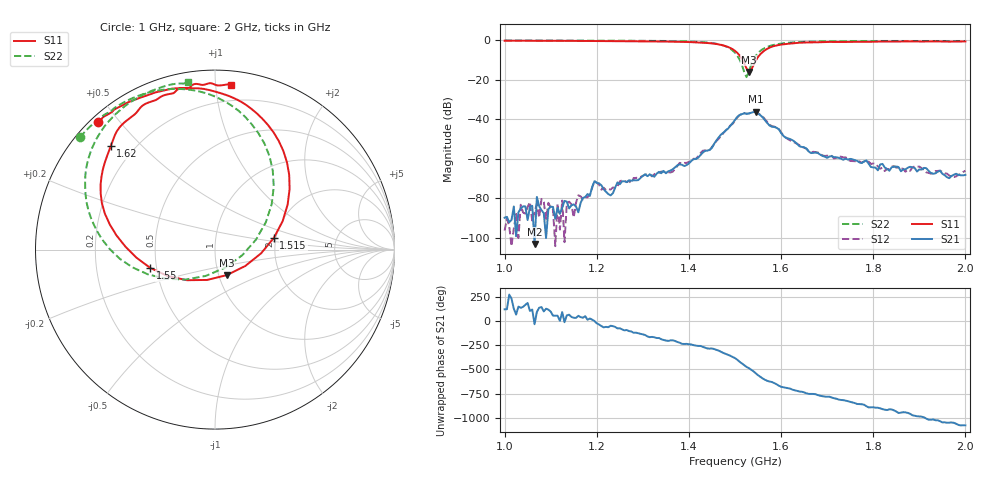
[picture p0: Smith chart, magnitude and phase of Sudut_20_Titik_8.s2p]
# Hz S RI R 50
! CMT, C1220, 16058040, 17.2.0/1
! Date: 14/08/2018 12:03:31
! Data: Format (Calibration Info)
! Freq  S11: Re/Im (F2)  S21: Re/Im (F2)  S12: Re/Im (F2)  S22: Re/Im (F2)
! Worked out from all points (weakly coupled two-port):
!   201 points, 1 GHz to 2 GHz, reference 50 ohm
!   highest |S21| = -36.26 dB at 1.545 GHz (marker M1); lowest = -103.1 dB at 1.065 GHz (marker M2)
!   lowest |S11| = -16.1 dB at 1.53 GHz (marker M3), VSWR 1.37, Z = 54.7 - j15.9 ohm
!   |S11| at or under -10 dB: 1.516 GHz to 1.546 GHz (29.97 MHz wide, 1.96 % of centre)
!   |S22| runs from -18.7 to -0.2 dB; largest |S21 - S12| = 0.00065
!   S11 on the Smith chart (normalised r, x): 1 GHz: 0.02, +0.44; 1.515 GHz: 1.95, +0.28; 1.55 GHz: 0.46, -0.11; 1.62 GHz: 0.12, +0.41; 2 GHz: 0.09, +1.10
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1e9  -0.6526 0.7098  -1.79e-05 2.68e-05  1.45e-05 -4.86e-06  -0.7535 0.6256
1.065e9  -0.5881 0.758  6.03e-06 -3.56e-06  3.8e-05 2.64e-05  -0.7083 0.6741
1.17e9  -0.4838 0.8207  8.09e-05 6.25e-05  8.96e-05 2.75e-05  -0.6163 0.7516
1.185e9  -0.4601 0.8298  9.97e-05 5.67e-05  9.61e-05 8.52e-05  -0.5989 0.7609
1.195e9  -0.4471 0.8345  0.00027 1.68e-05  0.000272 -1.33e-05  -0.5868 0.7649
1.23e9  -0.405 0.85  8.23e-05 -8.49e-05  6.5e-05 -0.000153  -0.5604 0.7886
1.245e9  -0.3753 0.86  7.08e-05 -0.000243  7.67e-05 -0.000186  -0.5421 0.8006
1.335e9  -0.2268 0.8979  -0.000463 -5.29e-05  -0.000439 4.63e-06  -0.3997 0.8662
1.45e9  0.1733 0.806  0.000391 0.00185  0.000525 0.00192  0.0249 0.8409
1.5e9  0.4157 0.3382  0.00887 -0.00352  0.00836 -0.00334  0.3274 0.3507
1.515e9  0.3274 0.0645  0.003 -0.0131  0.00339 -0.0131  0.2279 0.055
1.525e9  0.1689 -0.0912  -0.00543 -0.0125  -0.00541 -0.0127  0.0563 -0.101
1.53e9  0.0666 -0.1419  -0.00812 -0.0113  -0.00815 -0.0114  -0.0523 -0.1468
1.545e9  -0.2651 -0.1468  -0.0154 -0.000119  -0.0152 -0.000457  -0.375 -0.1375
1.55e9  -0.3603 -0.1022  -0.0132 0.00462  -0.0134 0.00411  -0.4604 -0.0986
1.58e9  -0.63 0.2583  2.76e-05 0.00643  0.000316 0.00667  -0.705 0.2173
1.62e9  -0.5805 0.5767  0.00291 0.00112  0.00272 0.000987  -0.7079 0.4971
1.67e9  -0.4583 0.7446  0.00117 -0.000782  0.00126 -0.000815  -0.625 0.6733
1.835e9  -0.1581 0.8969  -0.000485 0.000114  -0.000504 0.000196  -0.3752 0.8748
1.9e9  -0.0675 0.9175  -2.57e-05 0.000537  1.75e-05 0.000633  -0.2836 0.9097
1.975e9  0.0488 0.917  0.000353 0.000177  0.000318 0.000134  -0.1782 0.9247
2e9  0.088 0.9194  0.00039 -9.07e-07  0.000491 -6.02e-05  -0.1506 0.9335
